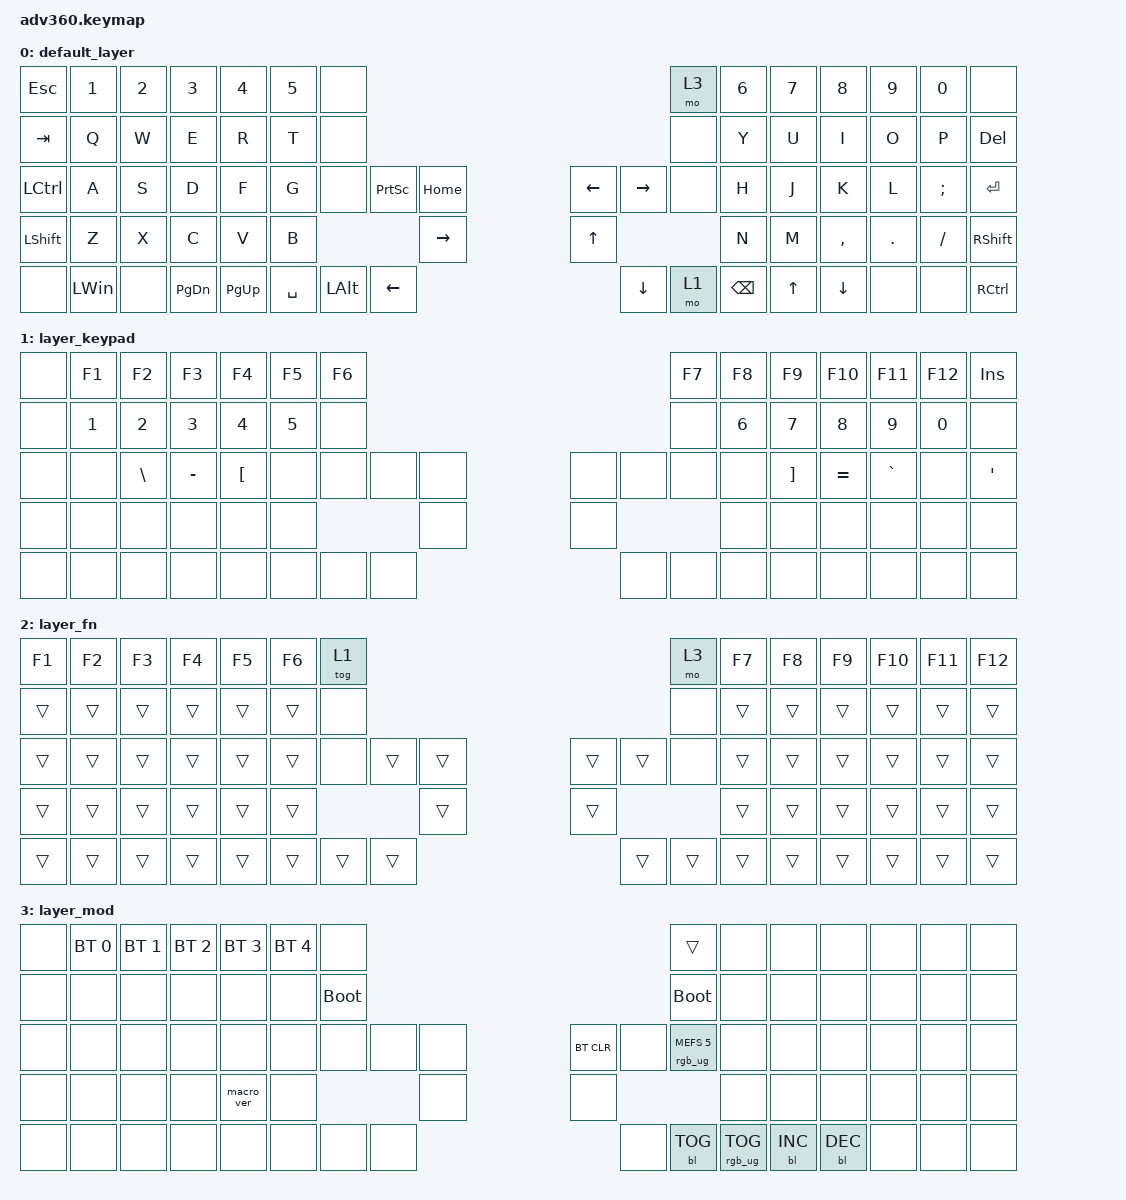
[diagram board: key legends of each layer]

/*
 * Copyright (c) 2020 The ZMK Contributors
 *
 * SPDX-License-Identifier: MIT
 */


/* THIS FILE WAS GENERATED!
 *
 * This file was generated automatically. You may or may not want to
 * edit it directly.
 */

#include <behaviors.dtsi>
#include <dt-bindings/zmk/keys.h>
#include <dt-bindings/zmk/bt.h>
#include <dt-bindings/zmk/rgb.h>
#include <dt-bindings/zmk/backlight.h>

/ {
  behaviors {
    #include "macros.dtsi"
    #include "version.dtsi"

    hm: homerow_mods {
        compatible = "zmk,behavior-hold-tap";
        label = "HOMEROW_MODS";
        #binding-cells = <2>;
        tapping-term-ms = <200>;
        quick_tap_ms = <175>;
        flavor = "tap-preferred";
        bindings = <&kp>, <&kp>;
    };
  };

    keymap {
        compatible = "zmk,keymap";


        default_layer {
            bindings = <
       &kp ESCAPE        &kp N1  &kp N2         &kp N3       &kp N4  &kp N5                &none                                                                                       &mo 3  &kp N6  &kp N7     &kp N8   &kp N9    &kp N0      &none
          &kp TAB         &kp Q   &kp W          &kp E        &kp R   &kp T                &none                                                                                       &none   &kp Y   &kp U      &kp I    &kp O     &kp P    &kp DEL
 &kp LEFT_CONTROL         &kp A   &kp S          &kp D        &kp F   &kp G                &none  &kp PRINTSCREEN   &kp HOME                  &kp LEFT_ARROW  &kp RIGHT_ARROW          &none   &kp H   &kp J      &kp K    &kp L  &kp SEMI  &kp ENTER
        &kp LSHFT         &kp Z   &kp X          &kp C        &kp V   &kp B                                        &kp RIGHT                          &kp UP                                   &kp N   &kp M  &kp COMMA  &kp DOT  &kp FSLH  &kp RSHFT
            &none  &kp LEFT_WIN   &none  &kp PAGE_DOWN  &kp PAGE_UP                    &kp SPACE     &kp LEFT_ALT   &kp LEFT                        &kp DOWN            &mo 1  &kp BACKSPACE          &kp UP   &kp DOWN    &none     &none  &kp RCTRL
            >;
        };

        layer_keypad {
            bindings = <
  &none        &kp F1         &kp F2        &kp F3            &kp F4        &kp F5            &kp F6                                                  &kp F7        &kp F8             &kp F9       &kp F10       &kp F11       &kp F12        &kp INSERT
  &none  &kp NUMBER_1   &kp NUMBER_2  &kp NUMBER_3      &kp NUMBER_4  &kp NUMBER_5             &none                                                   &none  &kp NUMBER_6       &kp NUMBER_7  &kp NUMBER_8  &kp NUMBER_9  &kp NUMBER_0             &none
  &none         &none  &kp BACKSLASH     &kp MINUS  &kp LEFT_BRACKET         &none             &none   &none   &none                   &none   &none   &none         &none  &kp RIGHT_BRACKET     &kp EQUAL     &kp GRAVE         &none  &kp SINGLE_QUOTE
  &none         &none          &none         &none             &none         &none                             &none                   &none                         &none              &none         &none         &none         &none             &none
  &none         &none          &none         &none             &none                           &none   &none   &none                   &none   &none   &none                            &none         &none         &none         &none             &none
            >;
        };

        layer_fn {
            bindings = <
 &kp F1  &kp F2  &kp F3  &kp F4  &kp F5  &kp F6            &tog 1                                                   &mo 3  &kp F7  &kp F8  &kp F9  &kp F10  &kp F11  &kp F12
 &trans  &trans  &trans  &trans  &trans  &trans             &none                                                   &none  &trans  &trans  &trans   &trans   &trans   &trans
 &trans  &trans  &trans  &trans  &trans  &trans             &none  &trans  &trans                  &trans  &trans   &none  &trans  &trans  &trans   &trans   &trans   &trans
 &trans  &trans  &trans  &trans  &trans  &trans                            &trans                  &trans                  &trans  &trans  &trans   &trans   &trans   &trans
 &trans  &trans  &trans  &trans  &trans                    &trans  &trans  &trans                  &trans  &trans  &trans          &trans  &trans   &trans   &trans   &trans
            >;
        };

        layer_mod {
            bindings = <
  &none  &bt BT_SEL 0  &bt BT_SEL 1  &bt BT_SEL 2  &bt BT_SEL 3  &bt BT_SEL 4                  &none                                                                          &trans   &none       &none       &none   &none   &none   &none
  &none         &none         &none         &none         &none         &none            &bootloader                                                                     &bootloader   &none       &none       &none   &none   &none   &none
  &none         &none         &none         &none         &none         &none                  &none   &none   &none                  &bt BT_CLR       &none  &rgb_ug RGB_MEFS_CMD 5   &none       &none       &none   &none   &none   &none
  &none         &none         &none         &none    &macro_ver         &none                                  &none                       &none                                       &none       &none       &none   &none   &none   &none
  &none         &none         &none         &none         &none                                &none   &none   &none                       &none  &bl BL_TOG         &rgb_ug RGB_TOG          &bl BL_INC  &bl BL_DEC   &none   &none   &none
            >;
        };

    };
};
